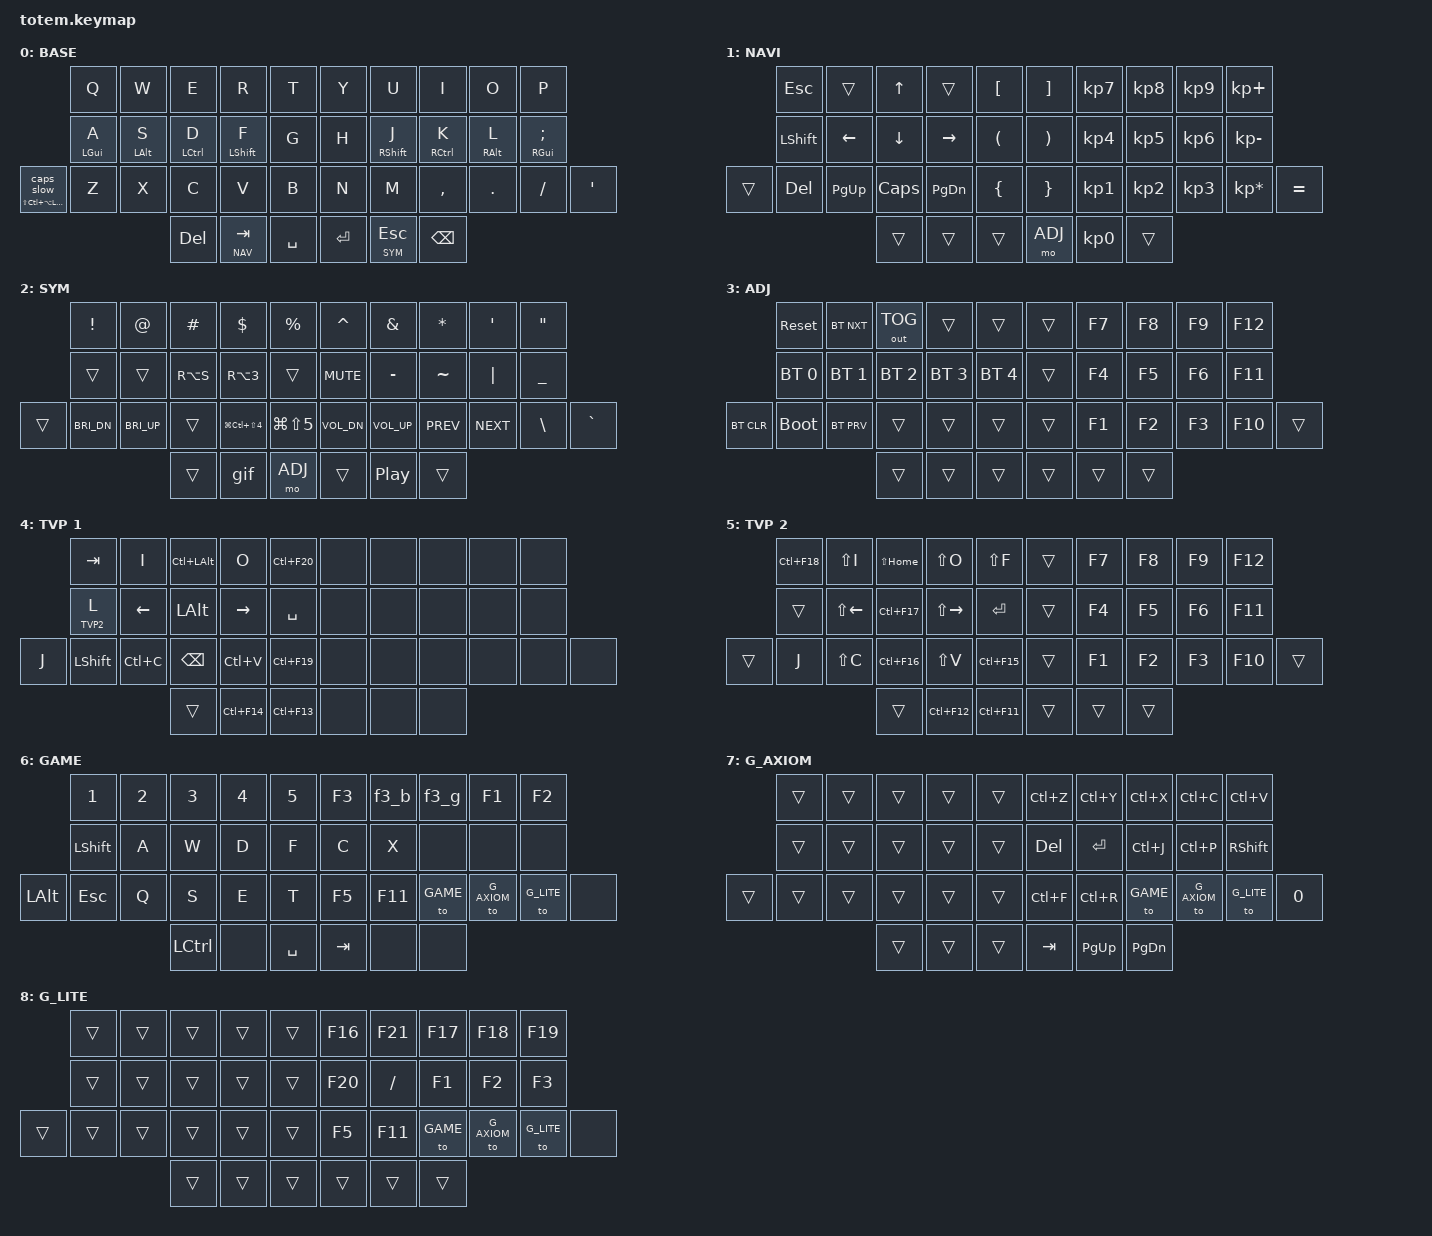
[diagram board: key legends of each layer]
//
//                                                        ▀▀▀▀▀     ▀▀▀▀▀          ▀▀█▀▀
//                                                        ▄▀▀▀▄  ▄  ▄▀▀▀▄  ▄  ▄▀▀▀▄  █  ▄▀▀▀▄
//                                                        █   █  █  █   █  █  █   █  █  █   █
//                                                         ▀▀▀   █   ▀▀▀   █   ▀▀▀   ▀   ▀▀▀
//                                                               █      ▄▄▄█▄▄▄    █   █  
//                                                               ▀      █  █  █     █▄█
//                                                             ▀▀▀▀▀    █  █  █      ▀
//                                                                      ▀  ▀  ▀
//
// ▄▄▄▄▄▄▄▄▄▄▄▄▄▄▄▄▄▄▄▄▄▄▄▄▄▄▄▄▄▄▄▄▄▄▄▄▄▄▄▄▄▄▄▄▄▄▄▄▄▄▄▄▄▄▄▄▄▄▄▄▄▄▄▄▄▄▄▄▄▄▄▄▄▄▄▄▄▄▄▄▄▄▄▄▄▄▄▄▄▄▄▄▄▄▄▄▄▄▄▄▄▄▄▄▄▄▄▄▄▄▄▄▄▄▄▄▄▄▄▄▄▄▄▄▄▄▄▄▄▄▄▄▄▄▄▄▄▄▄▄▄▄▄▄▄▄▄▄▄

#include <behaviors.dtsi>
#include <dt-bindings/zmk/bt.h>
#include <dt-bindings/zmk/keys.h>
#include <dt-bindings/zmk/outputs.h>

#define BASE 0
#define NAV  1
#define SYM  2
#define ADJ  3
#define TVP1 4
#define TVP2 5
#define GAME 6
#define G_AXIOM 7
#define G_LITE  8

// Combos hold their keys back until the combo timeout passes, so keep them off GAME
#define NOT_GAME BASE NAV SYM ADJ TVP1 TVP2
#define ALL_GAME GAME G_AXIOM G_LITE

&mt {
    quick-tap-ms = <100>;
    global-quick-tap;
    flavor = "tap-preferred";
    tapping-term-ms = <170>;
};

/ {
    behaviors {
        mt_cmd: mod_tap_cmd {
            compatible = "zmk,behavior-hold-tap";
            #binding-cells = <2>;
            quick-tap-ms = <100>;
            global-quick-tap;
            flavor = "tap-preferred";
            tapping-term-ms = <250>;
            bindings = <&kp>, <&kp>;
        };

        // macOS ignores caps lock presses shorter than ~100ms, so hold the tap
        caps_slow: caps_slow {
            compatible = "zmk,behavior-macro";
            #binding-cells = <0>;
            wait-ms = <0>;
            tap-ms = <100>;
            bindings = <&macro_tap &kp CAPS>;
        };

        hyper_caps: hyper_caps {
            compatible = "zmk,behavior-hold-tap";
            #binding-cells = <2>;
            quick-tap-ms = <100>;
            global-quick-tap;
            flavor = "tap-preferred";
            tapping-term-ms = <170>;
            bindings = <&kp>, <&caps_slow>;
        };
    };
};

/ {
    combos {
        compatible = "zmk,combos";

        combo_esc {
            timeout-ms = <50>;
            key-positions = <0 1>;
            bindings = <&kp ESC>;
            layers = <NOT_GAME>;
        };

        combo_tvp {
            timeout-ms = <100>;
            key-positions = <11 12 13>;
            bindings = <&tog TVP1>;
            layers = <NOT_GAME>;
        };

        combo_game_on {
            timeout-ms = <50>;
            key-positions = <32 33>;
            bindings = <&to GAME>;
            layers = <BASE>;
        };

        // &to clears the Axiom/Litematica sub-layers too
        combo_game_off {
            timeout-ms = <50>;
            key-positions = <32 33>;
            bindings = <&to BASE>;
            layers = <ALL_GAME>;
        };

        combo_backspace {
            bindings = <&kp BACKSPACE>;
            key-positions = <16 17>;
            layers = <NOT_GAME>;
        };

        combo_word_backspace {
            bindings = <&kp LA(BACKSPACE)>;
            key-positions = <16 17 18>;
            layers = <NOT_GAME>;
        };

        combo_word_delete {
            bindings = <&kp LA(DEL)>;
            key-positions = <17 18>;
            layers = <NOT_GAME>;
        };
    };

    macros {
        // Minecraft F3 chords: hold F3, tap the second key
        f3_b: f3_b {
            label = "F3_B";
            compatible = "zmk,behavior-macro";
            #binding-cells = <0>;
            bindings = <&macro_press &kp F3 &macro_tap &kp B &macro_release &kp F3>;
        };

        f3_g: f3_g {
            label = "F3_G";
            compatible = "zmk,behavior-macro";
            #binding-cells = <0>;
            bindings = <&macro_press &kp F3 &macro_tap &kp G &macro_release &kp F3>;
        };

        gif: gif {
            label = "giphy";
            compatible = "zmk,behavior-macro";
            #binding-cells = <0>;
            bindings =
                <&macro_press>,
                <&kp LSHFT>,
                <&macro_tap>,
                <&kp N2>,
                <&macro_release>,
                <&kp LSHFT>,
                <&macro_tap>,
                <&kp G &kp I &kp F>;
        };
    };

    keymap {
        compatible = "zmk,keymap";

        // ▄▄▄▄▄▄▄▄▄▄▄▄▄▄▄▄▄▄▄▄▄▄▄▄▄▄▄▄▄▄▄▄▄▄▄▄▄▄▄▄▄▄▄▄▄▄▄▄▄▄▄▄▄▄▄▄▄▄▄▄▄▄▄▄▄▄▄▄▄▄▄▄▄▄▄▄▄▄▄▄▄▄▄▄▄▄▄▄▄▄▄▄▄▄▄▄▄▄▄▄▄▄▄▄▄▄▄▄▄▄▄▄▄▄▄▄▄▄▄▄▄▄▄▄▄▄▄▄▄▄▄▄▄▄▄▄▄▄▄▄▄▄▄▄▄▄▄▄▄

        base_layer {
            // ┏━━━━━━━━━━━━━━━━━━━━━━━━━━━━━━━━━━━━━━━┓

            label = "BASE";

            // ┗━━━━━━━━━━━━━━━━━━━━━━━━━━━━━━━━━━━━━━━┛
            //             ┏━━━━━━━━━━━┳━━━━━━━━━━━┳━━━━━━━━━━━┳━━━━━━━━━━━┳━━━━━━━━━━━┓   ┏━━━━━━━━━━━┳━━━━━━━━━━━┳━━━━━━━━━━━┳━━━━━━━━━━━┳━━━━━━━━━━━┓
            //             ┃     Q     ┃     W     ┃     F     ┃     P     ┃     G     ┃   ┃     J     ┃     L     ┃     U     ┃     Y     ┃     ;     ┃
            //             ┣━━━━━━━━━━━╋━━━━━━━━━━━╋━━━━━━━━━━━╋━━━━━━━━━━━╋━━━━━━━━━━━┫   ┣━━━━━━━━━━━╋━━━━━━━━━━━╋━━━━━━━━━━━╋━━━━━━━━━━━╋━━━━━━━━━━━┫
            //             ┃     A     ┃     R     ┃     S     ┃     T     ┃     D     ┃   ┃     H     ┃     N     ┃     E     ┃     I     ┃     O     ┃
            // ┏━━━━━━━━━━━╋━━━━━━━━━━━╋━━━━━━━━━━━╋━━━━━━━━━━━╋━━━━━━━━━━━╋━━━━━━━━━━━┫   ┣━━━━━━━━━━━╋━━━━━━━━━━━╋━━━━━━━━━━━╋━━━━━━━━━━━╋━━━━━━━━━━━╋━━━━━━━━━━━┓
            // ┃     Q     ┃     Z     ┃     X     ┃     C     ┃     V     ┃     B     ┃   ┃     K     ┃     M     ┃     ,     ┃     .     ┃     /     ┃     \     ┃
            // ┗━━━━━━━━━━━┻━━━━━━━━━━━┻━━━━━━━━━━━╋━━━━━━━━━━━╋━━━━━━━━━━━╋━━━━━━━━━━━┫   ┣━━━━━━━━━━━╋━━━━━━━━━━━╋━━━━━━━━━━━╋━━━━━━━━━━━┻━━━━━━━━━━━┻━━━━━━━━━━━┛
            //                                     ┃    DEL    ┃    TAB    ┃    SPC    ┃   ┃   ENTER   ┃           ┃   BSPC    ┃
            //                                     ┗━━━━━━━━━━━┻━━━━━━━━━━━┻━━━━━━━━━━━┛   ┗━━━━━━━━━━━┻━━━━━━━━━━━┻━━━━━━━━━━━┛

            bindings = <
          &kp Q           &kp W       &kp E        &kp R        &kp T        &kp Y    &kp U        &kp I        &kp O       &kp P
          &mt_cmd LGUI A  &mt LALT S  &mt LCTRL D  &mt LSHFT F  &kp G        &kp H    &mt RSHFT J  &mt RCTRL K  &mt RALT L  &mt_cmd RGUI SEMI
&hyper_caps LS(LC(LA(LGUI))) 0 &kp Z          &kp X      &kp C        &kp V        &kp B        &kp N    &kp M        &kp COMMA    &kp DOT     &kp FSLH           &kp SINGLE_QUOTE
                                      &kp DEL      &lt NAV TAB  &kp SPACE    &kp RET  &lt SYM ESC  &kp BSPC
            >;
        };

        // ▄▄▄▄▄▄▄▄▄▄▄▄▄▄▄▄▄▄▄▄▄▄▄▄▄▄▄▄▄▄▄▄▄▄▄▄▄▄▄▄▄▄▄▄▄▄▄▄▄▄▄▄▄▄▄▄▄▄▄▄▄▄▄▄▄▄▄▄▄▄▄▄▄▄▄▄▄▄▄▄▄▄▄▄▄▄▄▄▄▄▄▄▄▄▄▄▄▄▄▄▄▄▄▄▄▄▄▄▄▄▄▄▄▄▄▄▄▄▄▄▄▄▄▄▄▄▄▄▄▄▄▄▄▄▄▄▄▄▄▄▄▄▄▄▄▄▄▄▄

        nav_layer {
            // ┏━━━━━━━━━━━━━━━━━━━━━━━━━━━━━━━━━━━━━━━┓

            label = "NAVI";

            // ┗━━━━━━━━━━━━━━━━━━━━━━━━━━━━━━━━━━━━━━━┛
            //             ┏━━━━━━━━━━━┳━━━━━━━━━━━┳━━━━━━━━━━━┳━━━━━━━━━━━┳━━━━━━━━━━━┓   ┏━━━━━━━━━━━┳━━━━━━━━━━━┳━━━━━━━━━━━┳━━━━━━━━━━━┳━━━━━━━━━━━┓
            //             ┃           ┃           ┃     UP    ┃           ┃     {     ┃   ┃     }     ┃     7     ┃     8     ┃     9     ┃     +     ┃
            //             ┣━━━━━━━━━━━╋━━━━━━━━━━━╋━━━━━━━━━━━╋━━━━━━━━━━━╋━━━━━━━━━━━┫   ┣━━━━━━━━━━━╋━━━━━━━━━━━╋━━━━━━━━━━━╋━━━━━━━━━━━╋━━━━━━━━━━━┫
            //             ┃   SHIFT   ┃   LEFT    ┃    DOWN   ┃   RIGHT   ┃     [     ┃   ┃     ]     ┃     4     ┃     5     ┃     6     ┃     -     ┃
            // ┏━━━━━━━━━━━╋━━━━━━━━━━━╋━━━━━━━━━━━╋━━━━━━━━━━━╋━━━━━━━━━━━╋━━━━━━━━━━━┫   ┣━━━━━━━━━━━╋━━━━━━━━━━━╋━━━━━━━━━━━╋━━━━━━━━━━━╋━━━━━━━━━━━╋━━━━━━━━━━━┓
            // ┃           ┃           ┃   P UP    ┃  C LOCK   ┃  P DOWN   ┃     (     ┃   ┃     )     ┃     1     ┃     2     ┃     3     ┃     *     ┃           ┃
            // ┗━━━━━━━━━━━┻━━━━━━━━━━━┻━━━━━━━━━━━╋━━━━━━━━━━━╋━━━━━━━━━━━╋━━━━━━━━━━━┫   ┣━━━━━━━━━━━╋━━━━━━━━━━━╋━━━━━━━━━━━╋━━━━━━━━━━━┻━━━━━━━━━━━┻━━━━━━━━━━━┛
            //                                     ┃           ┃    TAB    ┃    SPC    ┃   ┃    DEL    ┃     0     ┃           ┃
            //                                     ┗━━━━━━━━━━━┻━━━━━━━━━━━┻━━━━━━━━━━━┛   ┗━━━━━━━━━━━┻━━━━━━━━━━━┻━━━━━━━━━━━┛

            bindings = <
        &kp ESC    &trans     &kp UP    &trans     &kp LEFT_BRACKET    &kp RIGHT_BRACKET  &kp KP_N7  &kp KP_N8  &kp KP_N9  &kp KP_PLUS
        &kp LSHFT  &kp LEFT   &kp DOWN  &kp RIGHT  &kp LPAR            &kp RPAR           &kp KP_N4  &kp KP_N5  &kp KP_N6  &kp KP_MINUS
&trans  &kp DEL    &kp PG_UP  &kp CAPS  &kp PG_DN  &kp LBRC            &kp RIGHT_BRACE    &kp KP_N1  &kp KP_N2  &kp KP_N3  &kp KP_MULTIPLY  &kp EQUAL
                              &trans    &trans     &trans              &mo ADJ            &kp KP_N0  &trans
            >;
        };

        // ▄▄▄▄▄▄▄▄▄▄▄▄▄▄▄▄▄▄▄▄▄▄▄▄▄▄▄▄▄▄▄▄▄▄▄▄▄▄▄▄▄▄▄▄▄▄▄▄▄▄▄▄▄▄▄▄▄▄▄▄▄▄▄▄▄▄▄▄▄▄▄▄▄▄▄▄▄▄▄▄▄▄▄▄▄▄▄▄▄▄▄▄▄▄▄▄▄▄▄▄▄▄▄▄▄▄▄▄▄▄▄▄▄▄▄▄▄▄▄▄▄▄▄▄▄▄▄▄▄▄▄▄▄▄▄▄▄▄▄▄▄▄▄▄▄▄▄▄▄

        sim_layer {
            // ┏━━━━━━━━━━━━━━━━━━━━━━━━━━━━━━━━━━━━━━━┓

            label = "SYM";

            // ┗━━━━━━━━━━━━━━━━━━━━━━━━━━━━━━━━━━━━━━━┛
            //             ┏━━━━━━━━━━━┳━━━━━━━━━━━┳━━━━━━━━━━━┳━━━━━━━━━━━┳━━━━━━━━━━━┓   ┏━━━━━━━━━━━┳━━━━━━━━━━━┳━━━━━━━━━━━┳━━━━━━━━━━━┳━━━━━━━━━━━┓
            //             ┃     !     ┃     @     ┃     #     ┃     $     ┃     %     ┃   ┃     ˆ     ┃     &     ┃     *     ┃     '     ┃     "     ┃
            //             ┣━━━━━━━━━━━╋━━━━━━━━━━━╋━━━━━━━━━━━╋━━━━━━━━━━━╋━━━━━━━━━━━┫   ┣━━━━━━━━━━━╋━━━━━━━━━━━╋━━━━━━━━━━━╋━━━━━━━━━━━╋━━━━━━━━━━━┫
            //             ┃           ┃           ┃    SZ     ┃     £     ┃           ┃   ┃   MUTE    ┃           ┃           ┃           ┃           ┃
            // ┏━━━━━━━━━━━╋━━━━━━━━━━━╋━━━━━━━━━━━╋━━━━━━━━━━━╋━━━━━━━━━━━╋━━━━━━━━━━━┫   ┣━━━━━━━━━━━╋━━━━━━━━━━━╋━━━━━━━━━━━╋━━━━━━━━━━━╋━━━━━━━━━━━╋━━━━━━━━━━━┓
            // ┃           ┃   BRI-    ┃   BRI+    ┃           ┃ SCR4 CLIP ┃  SCR MENU ┃   ┃   VOL-    ┃   VOL+    ┃   LAST    ┃   NEXT    ┃     \     ┃           ┃
            // ┗━━━━━━━━━━━┻━━━━━━━━━━━┻━━━━━━━━━━━╋━━━━━━━━━━━╋━━━━━━━━━━━╋━━━━━━━━━━━┫   ┣━━━━━━━━━━━╋━━━━━━━━━━━╋━━━━━━━━━━━╋━━━━━━━━━━━┻━━━━━━━━━━━┻━━━━━━━━━━━┛
            //                                     ┃           ┃    GIF    ┃    ADJ    ┃   ┃           ┃           ┃           ┃
            //                                     ┗━━━━━━━━━━━┻━━━━━━━━━━━┻━━━━━━━━━━━┛   ┗━━━━━━━━━━━┻━━━━━━━━━━━┻━━━━━━━━━━━┛

            bindings = <
        &kp EXCL  &kp AT  &kp HASH   &kp DLLR            &kp PRCNT         &kp CARET     &kp AMPS      &kp ASTRK   &kp SQT     &kp DQT
        &trans    &trans  &kp RA(S)  &kp RA(N3)          &trans            &kp C_MUTE    &kp MINUS     &kp TILDE   &kp PIPE    &kp UNDERSCORE
&trans  &kp C_BRI_DN  &kp C_BRI_UP  &trans     &kp LG(LC(LS(N4)))  &kp LG(LS(N5))    &kp C_VOL_DN  &kp C_VOL_UP  &kp C_PREV  &kp C_NEXT  &kp BSLH        &kp GRAVE
                          &trans     &gif                &mo ADJ           &trans        &kp C_PP      &trans
            >;
        };

        // ▄▄▄▄▄▄▄▄▄▄▄▄▄▄▄▄▄▄▄▄▄▄▄▄▄▄▄▄▄▄▄▄▄▄▄▄▄▄▄▄▄▄▄▄▄▄▄▄▄▄▄▄▄▄▄▄▄▄▄▄▄▄▄▄▄▄▄▄▄▄▄▄▄▄▄▄▄▄▄▄▄▄▄▄▄▄▄▄▄▄▄▄▄▄▄▄▄▄▄▄▄▄▄▄▄▄▄▄▄▄▄▄▄▄▄▄▄▄▄▄▄▄▄▄▄▄▄▄▄▄▄▄▄▄▄▄▄▄▄▄▄▄▄▄▄▄▄▄▄

        adjust_layer {
            // ┏━━━━━━━━━━━━━━━━━━━━━━━━━━━━━━━━━━━━━━━┓

            label = "ADJ";

            // ┗━━━━━━━━━━━━━━━━━━━━━━━━━━━━━━━━━━━━━━━┛
            //             ┏━━━━━━━━━━━┳━━━━━━━━━━━┳━━━━━━━━━━━┳━━━━━━━━━━━┳━━━━━━━━━━━┓   ┏━━━━━━━━━━━┳━━━━━━━━━━━┳━━━━━━━━━━━┳━━━━━━━━━━━┳━━━━━━━━━━━┓
            //             ┃   RESET   ┃ BT CLEAR  ┃  OUT TOG  ┃           ┃           ┃   ┃           ┃    F7     ┃    F8     ┃    F9     ┃    F12    ┃
            //             ┣━━━━━━━━━━━╋━━━━━━━━━━━╋━━━━━━━━━━━╋━━━━━━━━━━━╋━━━━━━━━━━━┫   ┣━━━━━━━━━━━╋━━━━━━━━━━━╋━━━━━━━━━━━╋━━━━━━━━━━━╋━━━━━━━━━━━┫
            //             ┃ BOOTLOAD  ┃ BT NEXT   ┃           ┃           ┃           ┃   ┃           ┃    F4     ┃    F5     ┃    F6     ┃    F11    ┃
            // ┏━━━━━━━━━━━╋━━━━━━━━━━━╋━━━━━━━━━━━╋━━━━━━━━━━━╋━━━━━━━━━━━╋━━━━━━━━━━━┫   ┣━━━━━━━━━━━╋━━━━━━━━━━━╋━━━━━━━━━━━╋━━━━━━━━━━━╋━━━━━━━━━━━╋━━━━━━━━━━━┓
            // ┃           ┃           ┃ BT PREV   ┃           ┃           ┃           ┃   ┃           ┃    F1     ┃    F2     ┃    F3     ┃    F10    ┃           ┃
            // ┗━━━━━━━━━━━┻━━━━━━━━━━━┻━━━━━━━━━━━╋━━━━━━━━━━━╋━━━━━━━━━━━╋━━━━━━━━━━━┫   ┣━━━━━━━━━━━╋━━━━━━━━━━━╋━━━━━━━━━━━╋━━━━━━━━━━━┻━━━━━━━━━━━┻━━━━━━━━━━━┛
            //                                     ┃           ┃           ┃           ┃   ┃           ┃           ┃           ┃
            //                                     ┗━━━━━━━━━━━┻━━━━━━━━━━━┻━━━━━━━━━━━┛   ┗━━━━━━━━━━━┻━━━━━━━━━━━┻━━━━━━━━━━━┛

            bindings = <
            &sys_reset    &bt BT_NXT    &out OUT_TOG  &trans        &trans          &trans  &kp F7  &kp F8  &kp F9  &kp F12
            &bt BT_SEL 0  &bt BT_SEL 1  &bt BT_SEL 2  &bt BT_SEL 3  &bt BT_SEL 4    &trans  &kp F4  &kp F5  &kp F6  &kp F11
&bt BT_CLR  &bootloader   &bt BT_PRV    &trans        &trans        &trans          &trans  &kp F1  &kp F2  &kp F3  &kp F10  &trans
                                        &trans        &trans        &trans          &trans  &trans  &trans
            >;
        };

        // ▄▄▄▄▄▄▄▄▄▄▄▄▄▄▄▄▄▄▄▄▄▄▄▄▄▄▄▄▄▄▄▄▄▄▄▄▄▄▄▄▄▄▄▄▄▄▄▄▄▄▄▄▄▄▄▄▄▄▄▄▄▄▄▄▄▄▄▄▄▄▄▄▄▄▄▄▄▄▄▄▄▄▄▄▄▄▄▄▄▄▄▄▄▄▄▄▄▄▄▄▄▄▄▄▄▄▄▄▄▄▄▄▄▄▄▄▄▄▄▄▄▄▄▄▄▄▄▄▄▄▄▄▄▄▄▄▄▄▄▄▄▄▄▄▄▄▄▄▄

        tvp1_layer {
            // ┏━━━━━━━━━━━━━━━━━━━━━━━━━━━━━━━━━━━━━━━┓

            label = "TVP 1";

            // ┗━━━━━━━━━━━━━━━━━━━━━━━━━━━━━━━━━━━━━━━┛
            //             ┏━━━━━━━━━━━┳━━━━━━━━━━━┳━━━━━━━━━━━┳━━━━━━━━━━━┳━━━━━━━━━━━┓   ┏━━━━━━━━━━━┳━━━━━━━━━━━┳━━━━━━━━━━━┳━━━━━━━━━━━┳━━━━━━━━━━━┓
            //             ┃ NEXT FILE ┃ MARK IN   ┃ ROTATE    ┃ MARK OUT  ┃ SHOW SNAP ┃   ┃           ┃           ┃           ┃           ┃           ┃
            //             ┣━━━━━━━━━━━╋━━━━━━━━━━━╋━━━━━━━━━━━╋━━━━━━━━━━━╋━━━━━━━━━━━┫   ┣━━━━━━━━━━━╋━━━━━━━━━━━╋━━━━━━━━━━━╋━━━━━━━━━━━╋━━━━━━━━━━━┫
            //             ┃ TVP II    ┃ LEFT      ┃ PAN       ┃ RIGHT     ┃ PLAY/FLIP ┃   ┃           ┃           ┃           ┃           ┃           ┃
            // ┏━━━━━━━━━━━╋━━━━━━━━━━━╋━━━━━━━━━━━╋━━━━━━━━━━━╋━━━━━━━━━━━╋━━━━━━━━━━━┫   ┣━━━━━━━━━━━╋━━━━━━━━━━━╋━━━━━━━━━━━╋━━━━━━━━━━━╋━━━━━━━━━━━╋━━━━━━━━━━━┓
            // ┃ FULLSCR   ┃ SHIFT     ┃ COPY      ┃ DELETE    ┃ PASTE     ┃ IMG MARK  ┃   ┃           ┃           ┃           ┃           ┃           ┃           ┃
            // ┗━━━━━━━━━━━┻━━━━━━━━━━━┻━━━━━━━━━━━╋━━━━━━━━━━━╋━━━━━━━━━━━╋━━━━━━━━━━━┫   ┣━━━━━━━━━━━╋━━━━━━━━━━━╋━━━━━━━━━━━╋━━━━━━━━━━━┻━━━━━━━━━━━┻━━━━━━━━━━━┛
            //                                     ┃           ┃ UNDO/SAVE ┃  SEL/MOV  ┃   ┃           ┃           ┃           ┃
            //                                     ┗━━━━━━━━━━━┻━━━━━━━━━━━┻━━━━━━━━━━━┛   ┗━━━━━━━━━━━┻━━━━━━━━━━━┻━━━━━━━━━━━┛

            bindings = <
       &kp TAB     &kp I      &kp LC(LALT)  &kp O        &kp LC(F20)    &none  &none  &none  &none  &none
       &lt TVP2 L  &kp LEFT   &kp LALT      &kp RIGHT    &kp SPACE      &none  &none  &none  &none  &none
&kp J  &kp LSHFT   &kp LC(C)  &kp BSPC      &kp LC(V)    &kp LC(F19)    &none  &none  &none  &none  &none  &none
                              &trans        &kp LC(F14)  &kp LC(F13)    &none  &none  &none
            >;
        };

        // ▄▄▄▄▄▄▄▄▄▄▄▄▄▄▄▄▄▄▄▄▄▄▄▄▄▄▄▄▄▄▄▄▄▄▄▄▄▄▄▄▄▄▄▄▄▄▄▄▄▄▄▄▄▄▄▄▄▄▄▄▄▄▄▄▄▄▄▄▄▄▄▄▄▄▄▄▄▄▄▄▄▄▄▄▄▄▄▄▄▄▄▄▄▄▄▄▄▄▄▄▄▄▄▄▄▄▄▄▄▄▄▄▄▄▄▄▄▄▄▄▄▄▄▄▄▄▄▄▄▄▄▄▄▄▄▄▄▄▄▄▄▄▄▄▄▄▄▄▄

        tvp2_layer {
            // ┏━━━━━━━━━━━━━━━━━━━━━━━━━━━━━━━━━━━━━━━┓

            label = "TVP 2";

            // ┗━━━━━━━━━━━━━━━━━━━━━━━━━━━━━━━━━━━━━━━┛
            //             ┏━━━━━━━━━━━┳━━━━━━━━━━━┳━━━━━━━━━━━┳━━━━━━━━━━━┳━━━━━━━━━━━┓   ┏━━━━━━━━━━━┳━━━━━━━━━━━┳━━━━━━━━━━━┳━━━━━━━━━━━┳━━━━━━━━━━━┓
            //             ┃ SOLO      ┃ TOGGLE IN ┃ RESET ROT ┃ TOGGLE OUT┃ TAKE SNAP ┃   ┃           ┃           ┃           ┃           ┃           ┃
            //             ┣━━━━━━━━━━━╋━━━━━━━━━━━╋━━━━━━━━━━━╋━━━━━━━━━━━╋━━━━━━━━━━━┫   ┣━━━━━━━━━━━╋━━━━━━━━━━━╋━━━━━━━━━━━╋━━━━━━━━━━━╋━━━━━━━━━━━┫
            //             ┃ ---       ┃ LAST KEY  ┃ NEW KEY   ┃ NEXT KEY  ┃ ENTER     ┃   ┃           ┃           ┃           ┃           ┃           ┃
            // ┏━━━━━━━━━━━╋━━━━━━━━━━━╋━━━━━━━━━━━╋━━━━━━━━━━━╋━━━━━━━━━━━╋━━━━━━━━━━━┫   ┣━━━━━━━━━━━╋━━━━━━━━━━━╋━━━━━━━━━━━╋━━━━━━━━━━━╋━━━━━━━━━━━╋━━━━━━━━━━━┓
            // ┃           ┃ FULLSCR   ┃ CPY2BRUSH ┃ DEL HEAD  ┃ PSTinPLACE┃ BOOK MARK ┃   ┃           ┃           ┃           ┃           ┃           ┃           ┃
            // ┗━━━━━━━━━━━┻━━━━━━━━━━━┻━━━━━━━━━━━╋━━━━━━━━━━━╋━━━━━━━━━━━╋━━━━━━━━━━━┫   ┣━━━━━━━━━━━╋━━━━━━━━━━━╋━━━━━━━━━━━╋━━━━━━━━━━━┻━━━━━━━━━━━┻━━━━━━━━━━━┛
            //                                     ┃           ┃ REDO/SAV1 ┃TRANS/WARP ┃   ┃           ┃           ┃           ┃
            //                                     ┗━━━━━━━━━━━┻━━━━━━━━━━━┻━━━━━━━━━━━┛   ┗━━━━━━━━━━━┻━━━━━━━━━━━┻━━━━━━━━━━━┛

            bindings = <
        &kp LC(F18)  &kp LS(I)     &kp LS(HOME)  &kp LS(O)      &kp LS(F)      &trans  &kp F7  &kp F8  &kp F9  &kp F12
        &trans       &kp LS(LEFT)  &kp LC(F17)   &kp LS(RIGHT)  &kp RET        &trans  &kp F4  &kp F5  &kp F6  &kp F11
&trans  &kp J        &kp LS(C)     &kp LC(F16)   &kp LS(V)      &kp LC(F15)    &trans  &kp F1  &kp F2  &kp F3  &kp F10  &trans
                                   &trans        &kp LC(F12)    &kp LC(F11)    &trans  &trans  &trans
            >;
        };

        // ▄▄▄▄▄▄▄▄▄▄▄▄▄▄▄▄▄▄▄▄▄▄▄▄▄▄▄▄▄▄▄▄▄▄▄▄▄▄▄▄▄▄▄▄▄▄▄▄▄▄▄▄▄▄▄▄▄▄▄▄▄▄▄▄▄▄▄▄▄▄▄▄▄▄▄▄▄▄▄▄▄▄▄▄▄▄▄▄▄▄▄▄▄▄▄▄▄▄▄▄▄▄▄▄▄▄▄▄▄▄▄▄▄▄▄▄▄▄▄▄▄▄▄▄▄▄▄▄▄▄▄▄▄▄▄▄▄▄▄▄▄▄▄▄▄▄▄▄▄

        game_layer {
            // ┏━━━━━━━━━━━━━━━━━━━━━━━━━━━━━━━━━━━━━━━┓

            label = "GAME";

            // ┗━━━━━━━━━━━━━━━━━━━━━━━━━━━━━━━━━━━━━━━┛
            // Vanilla Minecraft. No hold-taps: every key fires the moment it goes down.
            // On: DEL + TAB thumbs together (combo_game_on). Off: left thumbs CTRL + 2nd together (combo_game_off, any game layer).
            // Left = hotbar 1-5 on top (also C/X + 1-5 = save/load palette); A W D on home row, S below W on bottom row; Q drop (Ctrl+Q = drop stack), E inv, F swap.
            // Right = F3 debug / hitboxes / chunk borders, C save + X load hotbar, F1/F2/F5/F11.
            // Bottom-right "mode row" (same on all three game layers): VANILLA / AXIOM / LITEMATICA.
            //             ┏━━━━━━━━━━━┳━━━━━━━━━━━┳━━━━━━━━━━━┳━━━━━━━━━━━┳━━━━━━━━━━━┓   ┏━━━━━━━━━━━┳━━━━━━━━━━━┳━━━━━━━━━━━┳━━━━━━━━━━━┳━━━━━━━━━━━┓
            //             ┃     1     ┃     2     ┃     3     ┃     4     ┃     5     ┃   ┃  F3 DEBUG ┃ F3+B HITBX┃ F3+G CHUNK┃  F1 HUD   ┃ F2 SHOT   ┃
            //             ┣━━━━━━━━━━━╋━━━━━━━━━━━╋━━━━━━━━━━━╋━━━━━━━━━━━╋━━━━━━━━━━━┫   ┣━━━━━━━━━━━╋━━━━━━━━━━━╋━━━━━━━━━━━╋━━━━━━━━━━━╋━━━━━━━━━━━┫
            //             ┃   SHIFT   ┃     A     ┃     W     ┃     D     ┃  F (SWAP) ┃   ┃ C SAVE HB ┃ X LOAD HB ┃           ┃           ┃           ┃
            // ┏━━━━━━━━━━━╋━━━━━━━━━━━╋━━━━━━━━━━━╋━━━━━━━━━━━╋━━━━━━━━━━━╋━━━━━━━━━━━┫   ┣━━━━━━━━━━━╋━━━━━━━━━━━╋━━━━━━━━━━━╋━━━━━━━━━━━╋━━━━━━━━━━━╋━━━━━━━━━━━┓
            // ┃    ALT    ┃    ESC    ┃ Q (DROP)  ┃     S     ┃     E     ┃  T (CHAT) ┃   ┃  F5 VIEW  ┃ F11 FULL  ┃  >VANILLA ┃  >AXIOM   ┃  >LITE    ┃           ┃
            // ┗━━━━━━━━━━━┻━━━━━━━━━━━┻━━━━━━━━━━━╋━━━━━━━━━━━╋━━━━━━━━━━━╋━━━━━━━━━━━┫   ┣━━━━━━━━━━━╋━━━━━━━━━━━╋━━━━━━━━━━━╋━━━━━━━━━━━┻━━━━━━━━━━━┻━━━━━━━━━━━┛
            //                                     ┃   CTRL    ┃           ┃    SPC    ┃   ┃    TAB    ┃           ┃           ┃
            //                                     ┗━━━━━━━━━━━┻━━━━━━━━━━━┻━━━━━━━━━━━┛   ┗━━━━━━━━━━━┻━━━━━━━━━━━┻━━━━━━━━━━━┛

            bindings = <
           &kp N1     &kp N2  &kp N3  &kp N4  &kp N5     &kp F3     &f3_b      &f3_g      &kp F1       &kp F2
           &kp LSHFT  &kp A   &kp W   &kp D   &kp F      &kp C      &kp X      &none      &none        &none
&kp LALT   &kp ESC    &kp Q   &kp S   &kp E   &kp T      &kp F5     &kp F11    &to GAME   &to G_AXIOM  &to G_LITE  &none
                              &kp LCTRL  &none  &kp SPACE    &kp TAB  &none  &none
            >;
        };

        // ▄▄▄▄▄▄▄▄▄▄▄▄▄▄▄▄▄▄▄▄▄▄▄▄▄▄▄▄▄▄▄▄▄▄▄▄▄▄▄▄▄▄▄▄▄▄▄▄▄▄▄▄▄▄▄▄▄▄▄▄▄▄▄▄▄▄▄▄▄▄▄▄▄▄▄▄▄▄▄▄▄▄▄▄▄▄▄▄▄▄▄▄▄▄▄▄▄▄▄▄▄▄▄▄▄▄▄▄▄▄▄▄▄▄▄▄▄▄▄▄▄▄▄▄▄▄▄▄▄▄▄▄▄▄▄▄▄▄▄▄▄▄▄▄▄▄▄▄▄

        g_axiom_layer {
            // ┏━━━━━━━━━━━━━━━━━━━━━━━━━━━━━━━━━━━━━━━┓

            label = "G_AXIOM";

            // ┗━━━━━━━━━━━━━━━━━━━━━━━━━━━━━━━━━━━━━━━┛
            // Axiom on the right hand; left hand falls through to GAME (vanilla). Reached with &to from the mode row.
            // Axiom one-taps: Ctrl+Z/Y/X/C/V/J/P/F/R, Del, Enter, R-Shift editor, PgUp/Dn nudge, 0 = builder-tools slot.
            //             ┏━━━━━━━━━━━┳━━━━━━━━━━━┳━━━━━━━━━━━┳━━━━━━━━━━━┳━━━━━━━━━━━┓   ┏━━━━━━━━━━━┳━━━━━━━━━━━┳━━━━━━━━━━━┳━━━━━━━━━━━┳━━━━━━━━━━━┓
            //             ┃           ┃           ┃           ┃           ┃           ┃   ┃   UNDO    ┃   REDO    ┃    CUT    ┃   COPY    ┃   PASTE   ┃
            //             ┣━━━━━━━━━━━╋━━━━━━━━━━━╋━━━━━━━━━━━╋━━━━━━━━━━━╋━━━━━━━━━━━┫   ┣━━━━━━━━━━━╋━━━━━━━━━━━╋━━━━━━━━━━━╋━━━━━━━━━━━╋━━━━━━━━━━━┫
            //             ┃           ┃           ┃           ┃           ┃           ┃   ┃    DEL    ┃   ENTER   ┃ DUPLICATE ┃ SAVE BLUE ┃ EDITOR(RS)┃
            // ┏━━━━━━━━━━━╋━━━━━━━━━━━╋━━━━━━━━━━━╋━━━━━━━━━━━╋━━━━━━━━━━━╋━━━━━━━━━━━┫   ┣━━━━━━━━━━━╋━━━━━━━━━━━╋━━━━━━━━━━━╋━━━━━━━━━━━╋━━━━━━━━━━━╋━━━━━━━━━━━┓
            // ┃           ┃           ┃           ┃           ┃           ┃           ┃   ┃ QUICKFILL ┃ QUICKREPL ┃  >VANILLA ┃  >AXIOM   ┃  >LITE    ┃     0     ┃
            // ┗━━━━━━━━━━━┻━━━━━━━━━━━┻━━━━━━━━━━━╋━━━━━━━━━━━╋━━━━━━━━━━━╋━━━━━━━━━━━┫   ┣━━━━━━━━━━━╋━━━━━━━━━━━╋━━━━━━━━━━━╋━━━━━━━━━━━┻━━━━━━━━━━━┻━━━━━━━━━━━┛
            //                                     ┃           ┃           ┃           ┃   ┃    TAB    ┃   PG UP   ┃   PG DN   ┃
            //                                     ┗━━━━━━━━━━━┻━━━━━━━━━━━┻━━━━━━━━━━━┛   ┗━━━━━━━━━━━┻━━━━━━━━━━━┻━━━━━━━━━━━┛

            bindings = <
           &trans  &trans  &trans  &trans  &trans      &kp LC(Z)    &kp LC(Y)    &kp LC(X)    &kp LC(C)    &kp LC(V)
           &trans  &trans  &trans  &trans  &trans      &kp DEL      &kp RET      &kp LC(J)    &kp LC(P)    &kp RSHFT
&trans     &trans  &trans  &trans  &trans  &trans      &kp LC(F)    &kp LC(R)    &to GAME     &to G_AXIOM  &to G_LITE  &kp N0
                           &trans  &trans  &trans      &kp TAB  &kp PG_UP  &kp PG_DN
            >;
        };

        // ▄▄▄▄▄▄▄▄▄▄▄▄▄▄▄▄▄▄▄▄▄▄▄▄▄▄▄▄▄▄▄▄▄▄▄▄▄▄▄▄▄▄▄▄▄▄▄▄▄▄▄▄▄▄▄▄▄▄▄▄▄▄▄▄▄▄▄▄▄▄▄▄▄▄▄▄▄▄▄▄▄▄▄▄▄▄▄▄▄▄▄▄▄▄▄▄▄▄▄▄▄▄▄▄▄▄▄▄▄▄▄▄▄▄▄▄▄▄▄▄▄▄▄▄▄▄▄▄▄▄▄▄▄▄▄▄▄▄▄▄▄▄▄▄▄▄▄▄▄

        g_lite_layer {
            // ┏━━━━━━━━━━━━━━━━━━━━━━━━━━━━━━━━━━━━━━━┓

            label = "G_LITE";

            // ┗━━━━━━━━━━━━━━━━━━━━━━━━━━━━━━━━━━━━━━━┛
            // Litematica on the right hand; left hand falls through to GAME (vanilla). Reached with &to from the mode row.
            // Plain F16..F20: Mac eats F13-F15, Alt opens Axiom menu; Config via the Litematica menu.
            // F21 = MiniHUD light-level (mob spawn) overlay.
            //             ┏━━━━━━━━━━━┳━━━━━━━━━━━┳━━━━━━━━━━━┳━━━━━━━━━━━┳━━━━━━━━━━━┓   ┏━━━━━━━━━━━┳━━━━━━━━━━━┳━━━━━━━━━━━┳━━━━━━━━━━━┳━━━━━━━━━━━┓
            //             ┃           ┃           ┃           ┃           ┃           ┃   ┃ LITE MENU ┃ SPAWN OVL ┃ LITE REND ┃ LITE GHOST┃ LITE PLACE┃
            //             ┣━━━━━━━━━━━╋━━━━━━━━━━━╋━━━━━━━━━━━╋━━━━━━━━━━━╋━━━━━━━━━━━┫   ┣━━━━━━━━━━━╋━━━━━━━━━━━╋━━━━━━━━━━━╋━━━━━━━━━━━╋━━━━━━━━━━━┫
            //             ┃           ┃           ┃           ┃           ┃           ┃   ┃ LITE MATS ┃     /     ┃    F1     ┃    F2     ┃    F3     ┃
            // ┏━━━━━━━━━━━╋━━━━━━━━━━━╋━━━━━━━━━━━╋━━━━━━━━━━━╋━━━━━━━━━━━╋━━━━━━━━━━━┫   ┣━━━━━━━━━━━╋━━━━━━━━━━━╋━━━━━━━━━━━╋━━━━━━━━━━━╋━━━━━━━━━━━╋━━━━━━━━━━━┓
            // ┃           ┃           ┃           ┃           ┃           ┃           ┃   ┃    F5     ┃    F11    ┃  >VANILLA ┃  >AXIOM   ┃  >LITE    ┃           ┃
            // ┗━━━━━━━━━━━┻━━━━━━━━━━━┻━━━━━━━━━━━╋━━━━━━━━━━━╋━━━━━━━━━━━╋━━━━━━━━━━━┫   ┣━━━━━━━━━━━╋━━━━━━━━━━━╋━━━━━━━━━━━╋━━━━━━━━━━━┻━━━━━━━━━━━┻━━━━━━━━━━━┛
            //                                     ┃           ┃           ┃           ┃   ┃           ┃           ┃           ┃
            //                                     ┗━━━━━━━━━━━┻━━━━━━━━━━━┻━━━━━━━━━━━┛   ┗━━━━━━━━━━━┻━━━━━━━━━━━┻━━━━━━━━━━━┛

            bindings = <
           &trans  &trans  &trans  &trans  &trans      &kp F16  &kp F21  &kp F17  &kp F18  &kp F19
           &trans  &trans  &trans  &trans  &trans      &kp F20  &kp FSLH         &kp F1           &kp F2           &kp F3
&trans     &trans  &trans  &trans  &trans  &trans      &kp F5           &kp F11          &to GAME     &to G_AXIOM  &to G_LITE  &none
                           &trans  &trans  &trans      &trans  &trans  &trans
            >;
        };
    };
};
